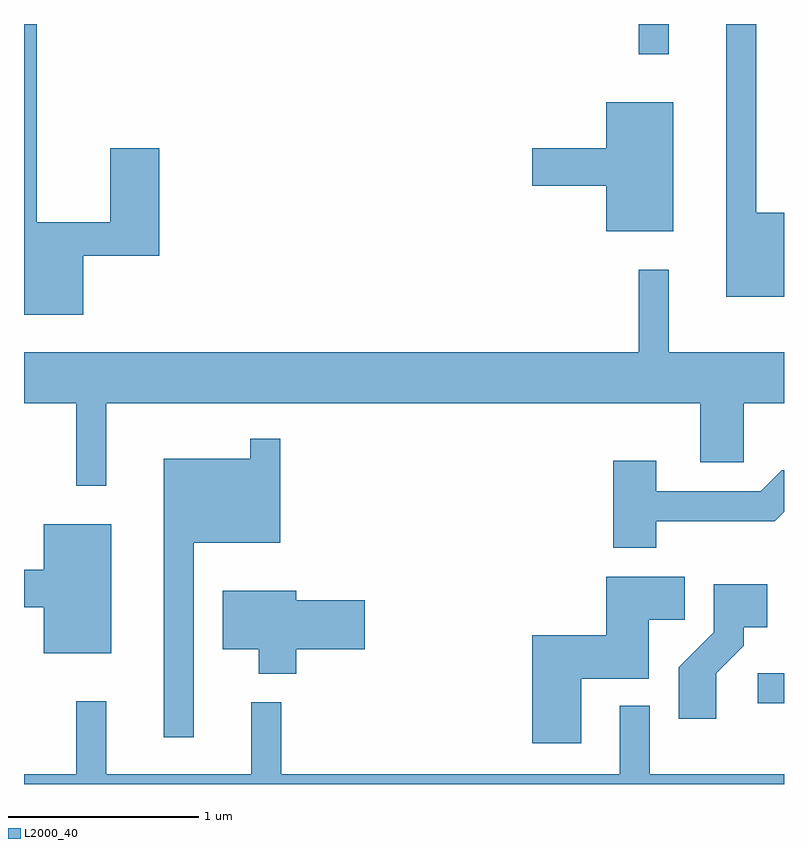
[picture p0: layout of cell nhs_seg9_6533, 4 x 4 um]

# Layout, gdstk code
import gdstk
lib = gdstk.Library(unit=1e-6, precision=1e-09)
def R(c, l, rs):  # rectangles x0, y0, x1, y1
    for r in rs: c.add(gdstk.rectangle(r[:2], r[2:], *l))
def P(c, l, *ps):  # polygons
    for p in ps: c.add(gdstk.Polygon(p, *l))
L2000_40 = (2000, 40)

nhs_seg9_6533 = lib.new_cell('nhs_seg9_6533')
R(nhs_seg9_6533, L2000_40, [(381.473,2036.856,381.611,2037.014), (380.846,2040.273,381.004,2040.432)])
P(nhs_seg9_6533, L2000_40, [(381.611,2039.439),(381.464,2039.439),(381.464,2040.432),(381.306,2040.432),(381.306,2038.996),(381.611,2038.996)],
  [(377.924,2039.211),(378.324,2039.211),(378.324,2039.779),(378.066,2039.779),(378.066,2039.389),(377.679,2039.389),(377.679,2040.432),(377.611,2040.432),(377.611,2038.901),(377.924,2038.901)],
  [(381.029,2040.019),(380.676,2040.019),(380.676,2039.779),(380.286,2039.779),(380.286,2039.581),(380.676,2039.581),(380.676,2039.341),(381.029,2039.341)],
  [(378.044,2038.436),(381.171,2038.436),(381.171,2038.126),(381.399,2038.126),(381.399,2038.436),(381.611,2038.436),(381.611,2038.704),(381.004,2038.704),(381.004,2039.138),(380.846,2039.138),(380.846,2038.704),(377.611,2038.704),(377.611,2038.436),(377.886,2038.436),(377.886,2038.003),(378.044,2038.003)],
  [(378.504,2037.701),(378.959,2037.701),(378.959,2038.248),(378.801,2038.248),(378.801,2038.144),(378.346,2038.144),(378.346,2036.678),(378.504,2036.678)],
  [(380.939,2037.816),(381.562,2037.816),(381.611,2037.865),(381.611,2038.084),(381.599,2038.084),(381.489,2037.974),(380.939,2037.974),(380.939,2038.134),(380.711,2038.134),(380.711,2037.676),(380.939,2037.676)],
  [(378.069,2037.799),(377.716,2037.799),(377.716,2037.559),(377.611,2037.559),(377.611,2037.361),(377.716,2037.361),(377.716,2037.121),(378.069,2037.121)],
  [(380.544,2036.986),(380.899,2036.986),(380.899,2037.296),(381.089,2037.296),(381.089,2037.524),(380.676,2037.524),(380.676,2037.214),(380.286,2037.214),(380.286,2036.646),(380.544,2036.646)],
  [(381.254,2037.014),(381.399,2037.159),(381.399,2037.256),(381.524,2037.256),(381.524,2037.484),(381.241,2037.484),(381.241,2037.232),(381.056,2037.047),(381.056,2036.776),(381.254,2036.776)],
  [(379.044,2037.141),(379.404,2037.141),(379.404,2037.399),(379.044,2037.399),(379.044,2037.449),(378.656,2037.449),(378.656,2037.141),(378.846,2037.141),(378.846,2037.011),(379.044,2037.011)],
  [(381.611,2036.484),(380.904,2036.484),(380.904,2036.843),(380.746,2036.843),(380.746,2036.484),(378.964,2036.484),(378.964,2036.863),(378.806,2036.863),(378.806,2036.484),(378.044,2036.484),(378.044,2036.868),(377.886,2036.868),(377.886,2036.484),(377.611,2036.484),(377.611,2036.432),(381.611,2036.432)])

lib.write_gds('nhs_seg9_6533.gds')
